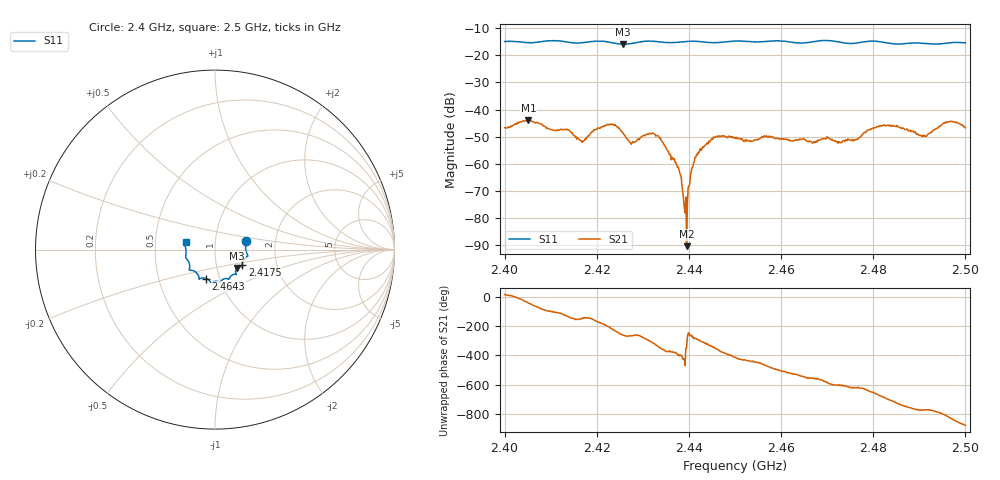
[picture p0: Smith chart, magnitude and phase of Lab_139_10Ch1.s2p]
# Hz S RI R 50
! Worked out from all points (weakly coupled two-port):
!   601 points, 2.4 GHz to 2.5 GHz, reference 50 ohm
!   highest |S21| = -43.98 dB at 2.4052 GHz (marker M1); lowest = -90.4 dB at 2.4395 GHz (marker M2)
!   lowest |S11| = -15.9 dB at 2.4257 GHz (marker M3), VSWR 1.38, Z = 62.5 - j13.1 ohm
!   |S11| at or under -10 dB: start of sweep to end of sweep
!   S12 and S22 are empty: the file has one direction only
!   S11 on the Smith chart (normalised r, x): 2.4 GHz: 1.41, +0.14; 2.4175 GHz: 1.34, -0.23; 2.4643 GHz: 0.86, -0.29; 2.5 GHz: 0.72, +0.06
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2.4e9  0.1731 0.0485  0.00446 0.00123  0 0  0 0
2.405167e9  0.1704 0.012  0.00468 -0.00425  0 0  0 0
2.416667e9  0.1528 -0.0744  -0.00228 -0.00129  0 0  0 0
2.4175e9  0.1518 -0.0837  -0.00231 -0.00173  0 0  0 0
2.422667e9  0.1476 -0.0946  -0.00479 0.00232  0 0  0 0
2.425667e9  0.1229 -0.1021  -0.000575 0.0037  0 0  0 0
2.427667e9  0.1148 -0.12  -0.000167 0.00242  0 0  0 0
2.433333e9  0.113 -0.1372  0.00308 0.0011  0 0  0 0
2.437333e9  0.0851 -0.1506  0.000861 -0.000432  0 0  0 0
2.439e9  0.0801 -0.1594  5.97e-05 -0.000146  0 0  0 0
2.4395e9  0.0792 -0.1616  2.95e-05 6.1e-06  0 0  0 0
2.440833e9  0.0776 -0.1647  -1.42e-05 0.000857  0 0  0 0
2.442e9  0.0742 -0.1643  0.000665 0.00147  0 0  0 0
2.445833e9  0.0488 -0.164  0.00312 0.000359  0 0  0 0
2.45e9  0.0288 -0.1809  0.0019 -0.00236  0 0  0 0
2.464333e9  -0.0501 -0.161  -0.0028 2.73e-05  0 0  0 0
2.466667e9  -0.076 -0.1592  -0.0024 0.000635  0 0  0 0
2.476167e9  -0.1179 -0.1187  -0.000436 0.00273  0 0  0 0
2.483333e9  -0.1411 -0.09  0.00471 0.00166  0 0  0 0
2.491e9  -0.1625 -0.034  0.002 -0.00248  0 0  0 0
2.496167e9  -0.1669 0.021  -0.000642 -0.0059  0 0  0 0
2.5e9  -0.1639 0.0426  -0.00426 -0.00176  0 0  0 0
